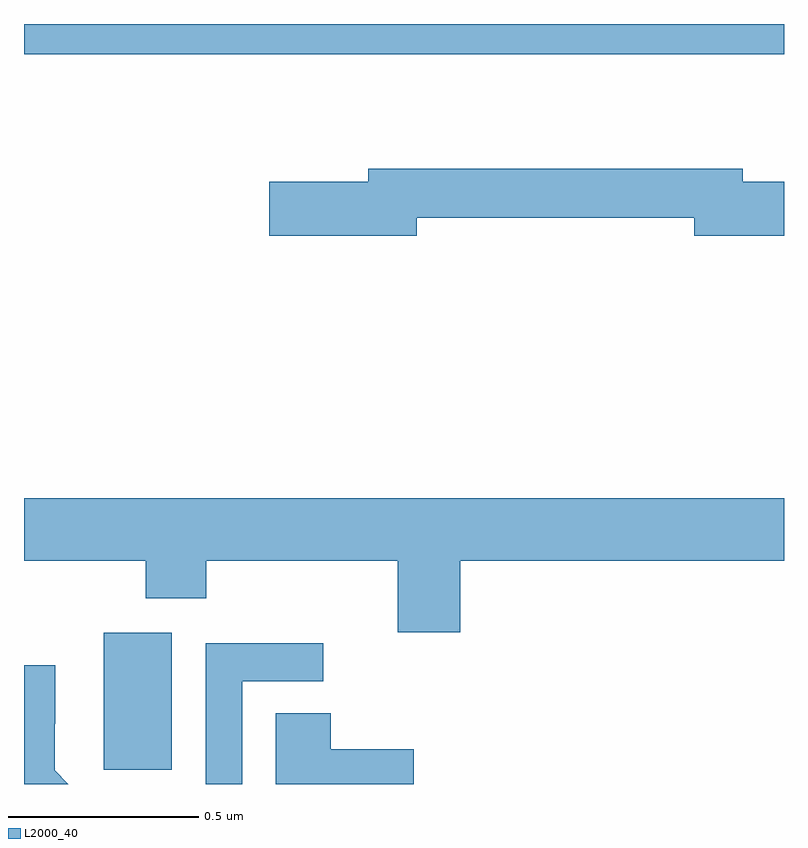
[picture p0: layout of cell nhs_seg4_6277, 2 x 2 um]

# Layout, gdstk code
import gdstk
lib = gdstk.Library(unit=1e-6, precision=1e-09)
def R(c, l, rs):  # rectangles x0, y0, x1, y1
    for r in rs: c.add(gdstk.rectangle(r[:2], r[2:], *l))
def P(c, l, *ps):  # polygons
    for p in ps: c.add(gdstk.Polygon(p, *l))
L2000_40 = (2000, 40)

nhs_seg4_6277 = lib.new_cell('nhs_seg4_6277')
R(nhs_seg4_6277, L2000_40, [(188.21,794.937,188.389,795.298), (188,796.82,190,796.9)])
P(nhs_seg4_6277, L2000_40, [(189.034,796.39),(189.764,796.39),(189.764,796.343),(190,796.343),(190,796.485),(189.892,796.485),(189.892,796.519),(188.906,796.519),(188.906,796.485),(188.646,796.485),(188.646,796.343),(189.034,796.343)],
  [(189.148,795.488),(190,795.488),(190,795.652),(188,795.652),(188,795.488),(188.32,795.488),(188.32,795.389),(188.48,795.389),(188.48,795.488),(188.984,795.488),(188.984,795.3),(189.148,795.3)],
  [(188.574,795.171),(188.788,795.171),(188.788,795.27),(188.478,795.27),(188.478,794.9),(188.574,794.9)],
  [(188.081,794.936),(188.081,795.058),(188.082,795.058),(188.082,795.212),(188,795.212),(188,794.9),(188.116,794.9)],
  [(189.025,794.991),(188.807,794.991),(188.807,795.086),(188.663,795.086),(188.663,794.9),(189.025,794.9)])

lib.write_gds('nhs_seg4_6277.gds')
